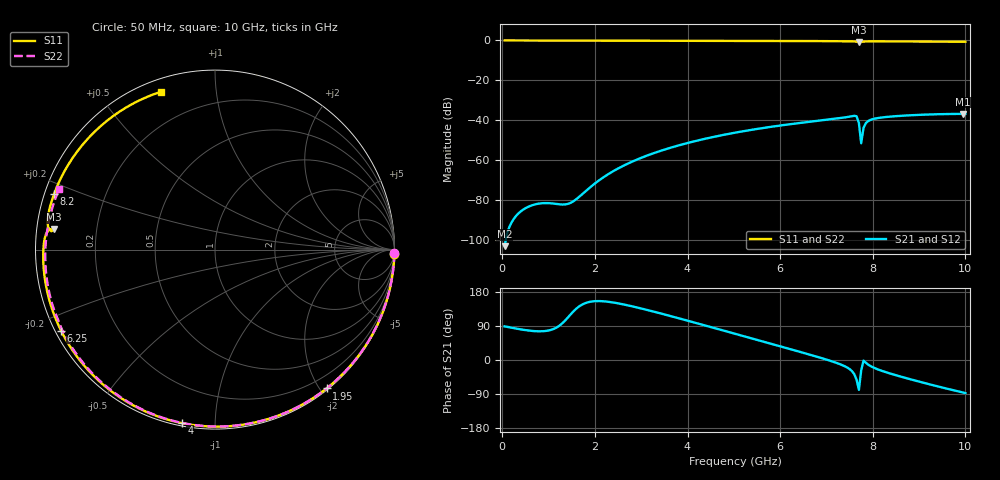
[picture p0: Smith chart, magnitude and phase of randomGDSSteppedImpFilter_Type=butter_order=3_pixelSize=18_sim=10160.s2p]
! freq	dB(S11)	phase(S11)	dB(S12)	phase(S12)
!  dB(S21)	phase(S21)	dB(S22)	phase(S22)
!S-par simulation data
#  GHz  S  DB  R 50
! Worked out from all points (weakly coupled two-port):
!   200 points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, 50 MHz to 10 GHz, reference 50 ohm
!   highest |S21| = -36.74 dB at 9.95 GHz (marker M1); lowest = -102.9 dB at 50 MHz (marker M2)
!   lowest |S11| = -0.9 dB at 7.7 GHz (marker M3), VSWR 19.98, Z = 2.51 + j3.13 ohm
!   |S11| at or under -10 dB: nowhere
!   |S22| runs from -0.6 to 0.0 dB; largest |S21 - S12| = 0
!   S11 on the Smith chart (normalised r, x): 50 MHz: 0, -84; 1.95 GHz: 0.02, -2.09; 4 GHz: 0.01, -0.83; 6.25 GHz: 0.02, -0.25; 8.2 GHz: 0.03, +0.17; 10 GHz: 0.06, +0.71
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0.05  -0.00 -1.4  -102.94 88.8  -102.94 88.8  -0.00 -1.2
0.75  -0.02 -20.0  -81.81 75.8  -81.81 75.8  -0.02 -16.9
1.55  -0.05 -41.0  -80.25 129.9  -80.25 129.9  -0.04 -34.7
1.75  -0.06 -46.1  -76.45 147.8  -76.45 147.8  -0.05 -39.0
1.95  -0.07 -51.2  -72.49 154.7  -72.49 154.7  -0.06 -43.3
2.6  -0.09 -67.5  -62.87 147.1  -62.87 147.1  -0.07 -57.2
3.4  -0.11 -86.8  -55.38 123.5  -55.38 123.5  -0.10 -73.6
4  -0.14 -100.9  -51.32 103.8  -51.32 103.8  -0.12 -85.6
5.05  -0.19 -124.9  -46.05 68.4  -46.05 68.4  -0.16 -105.8
6.25  -0.27 -152.2  -41.80 27.6  -41.80 27.6  -0.23 -128.1
6.7  -0.31 -162.7  -40.52 12.0  -40.52 12.0  -0.26 -136.4
7.6  -0.49 174.6  -37.71 -37.3  -37.71 -37.3  -0.34 -153.2
7.65  -0.63 173.1  -37.93 -52.0  -37.93 -52.0  -0.35 -154.1
7.7  -0.87 172.8  -41.24 -78.7  -41.24 -78.7  -0.37 -155.1
7.75  -0.74 173.6  -51.44 -27.4  -51.44 -27.4  -0.37 -155.9
7.8  -0.56 172.4  -43.74 -1.6  -43.74 -1.6  -0.37 -156.8
7.85  -0.49 170.8  -41.36 -7.2  -41.36 -7.2  -0.37 -157.8
8.2  -0.46 161.0  -38.53 -28.8  -38.53 -28.8  -0.40 -164.5
8.35  -0.47 157.0  -38.16 -34.7  -38.16 -34.7  -0.42 -167.4
9.15  -0.55 134.6  -37.10 -61.8  -37.10 -61.8  -0.51 176.7
9.95  -0.63 110.4  -36.74 -85.9  -36.74 -85.9  -0.61 159.7
10  -0.64 108.8  -36.75 -87.3  -36.75 -87.3  -0.62 158.6
